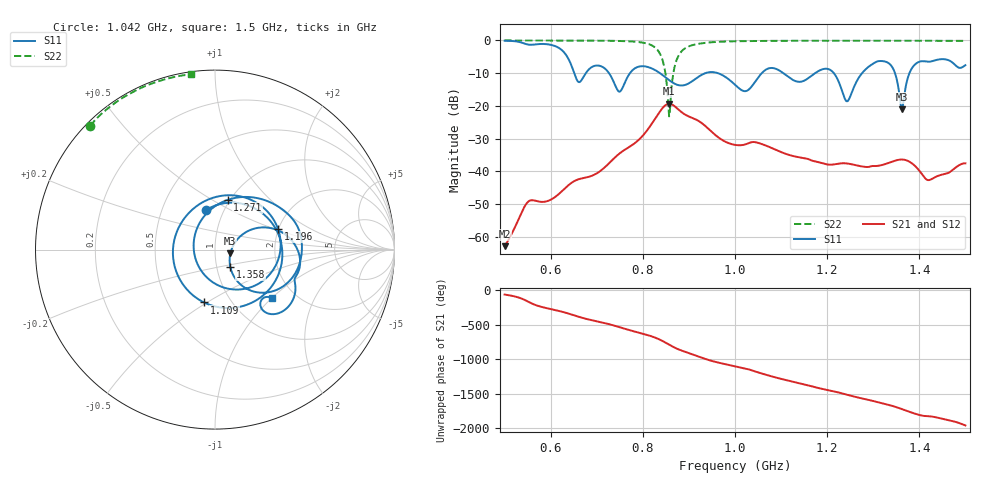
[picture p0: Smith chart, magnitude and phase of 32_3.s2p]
! TOUCHSTONE file generated by CST MICROWAVE STUDIO
! Date and time: Fri Dec 11 14:16:20 2020
! Project name: Scenario_1_Planar_Body_Tissue_Out_of_Line_v2.cst
! Parameters = {dy1=190.3; L_HA=400; Ltissue=700; MT=2.54; Rad_Dielectric=30; Rad_Lower=7.3; Rad_Upper=30; Wtissue=700; a_HA=580; a_WG=246; b_HA=500; b_WG=121; c_HA=0; c_WG=187; d_feed=85; dx1=520; h_feed=15; h_lower=18; h_upper=40; hfat=3; hgap=25; hmuscle=50; hskin=1.5}
! Header version: 2018
! Port assignment regex: !\s*Touchstone port\s*([0-9]+)\s*=\s*(CST MWS port|CST DS port)\s*([0-9]+|Zmin|Zmax)\s*\(\"(.*)\"\)(\s*mode\s*([0-9]+))?.*
! Touchstone port assignment:
! Touchstone port 1 = CST MWS port 1 ("")
! Touchstone port 2 = CST MWS port 2 ("")
# GHz S DB R 50
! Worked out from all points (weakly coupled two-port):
!   1003 points, 500 MHz to 1.5 GHz, reference 50 ohm
!   highest |S21| = -19.35 dB at 857 MHz (marker M1); lowest = -62.9 dB at 500 MHz (marker M2)
!   lowest |S11| = -21.1 dB at 1.362 GHz (marker M3), VSWR 1.19, Z = 59.3 - j2.56 ohm
!   |S11| at or under -10 dB: 837.1 MHz to 935.7 MHz (98.53 MHz wide, 11.1 % of centre); 962.8 MHz to 1.058 GHz (95.32 MHz wide, 9.43 % of centre); 1.105 GHz to 1.174 GHz (69.07 MHz wide, 6.06 % of centre) (the widest 3 of 7)
!   |S22| runs from -23.2 to 0.0 dB; largest |S21 - S12| = 7.3e-05
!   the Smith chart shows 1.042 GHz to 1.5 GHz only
!   S11 on the Smith chart (normalised r, x): 1.042 GHz: 0.82, +0.38; 1.109 GHz: 0.75, -0.48; 1.196 GHz: 1.98, +0.53; 1.271 GHz: 0.98, +0.59; 1.358 GHz: 1.16, -0.23; 1.5 GHz: 1.53, -1.01
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0.5  -0.09 -121.9  -62.87 -62.3  -62.87 -62.3  -0.01 151.2
0.599  -1.30 -175.8  -48.75 88.9  -48.75 88.9  -0.02 144.2
0.667  -12.12 166.9  -42.18 -37.2  -42.18 -37.2  -0.04 138.4
0.743  -14.64 15.0  -35.31 -162.5  -35.31 -162.5  -0.14 128.7
0.788  -8.15 165.0  -30.76 111.5  -30.76 111.5  -0.45 117.6
0.834  -9.70 53.5  -22.35 12.6  -22.35 12.6  -3.32 83.2
0.857  -12.13 -7.0  -19.35 -68.9  -19.35 -68.9  -23.21 -35.4
0.894  -13.50 -128.8  -22.84 -178.0  -22.84 -178.0  -2.20 171.8
0.936  -9.98 84.0  -26.20 82.8  -26.20 82.8  -0.73 152.5
1  -13.53 -94.5  -31.92 -21.8  -31.92 -21.8  -0.25 140.2
1.042  -12.95 103.5  -31.06 -93.7  -31.06 -93.7  -0.18 135.2
1.075  -8.47 -5.6  -32.59 -160.7  -32.59 -160.7  -0.14 132.0
1.109  -10.44 -101.8  -34.60 140.0  -34.60 140.0  -0.12 128.9
1.167  -10.70 90.3  -36.73 46.8  -36.74 46.6  -0.10 124.2
1.196  -8.65 18.3  -37.79 -0.4  -37.79 -0.4  -0.09 121.9
1.243  -18.60 -170.4  -37.60 -74.9  -37.60 -74.9  -0.09 118.4
1.271  -10.89 75.9  -38.40 -122.0  -38.40 -122.0  -0.08 116.3
1.334  -7.01 -24.0  -37.40 137.5  -37.40 137.5  -0.09 111.5
1.358  -17.85 -48.4  -36.42 86.8  -36.42 86.8  -0.09 109.7
1.362  -21.09 -14.1  -36.39 77.3  -36.39 77.3  -0.09 109.3
1.396  -6.78 0.4  -39.13 -1.2  -39.13 -1.2  -0.10 106.7
1.5  -7.57 -40.6  -37.55 -160.7  -37.55 -160.7  -0.13 97.9
